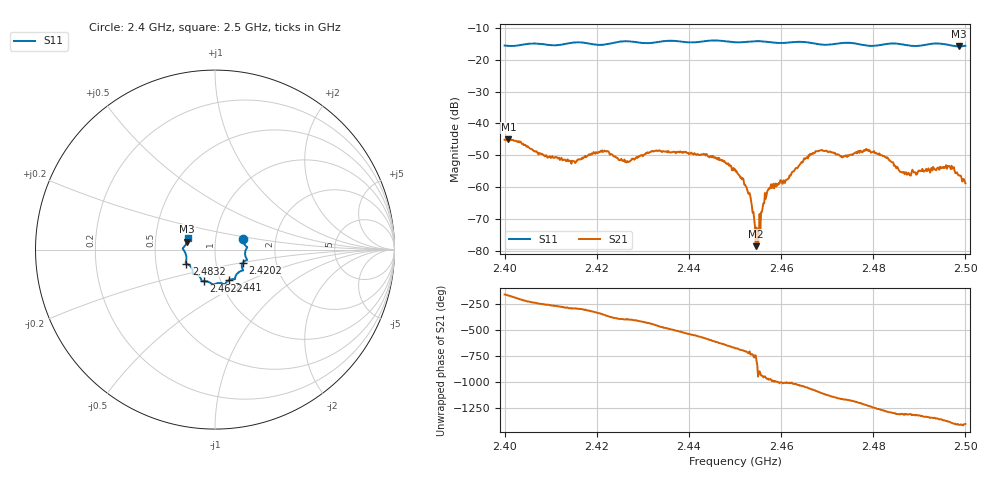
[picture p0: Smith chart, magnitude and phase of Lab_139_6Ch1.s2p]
# Hz S RI R 50
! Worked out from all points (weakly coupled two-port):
!   601 points, 2.4 GHz to 2.5 GHz, reference 50 ohm
!   highest |S21| = -44.94 dB at 2.4008 GHz (marker M1); lowest = -78.5 dB at 2.4545 GHz (marker M2)
!   lowest |S11| = -15.8 dB at 2.4987 GHz (marker M3), VSWR 1.39, Z = 36.4 + j3.36 ohm
!   |S11| at or under -10 dB: start of sweep to end of sweep
!   S12 and S22 are empty: the file has one direction only
!   S11 on the Smith chart (normalised r, x): 2.4 GHz: 1.36, +0.17; 2.4202 GHz: 1.35, -0.20; 2.441 GHz: 1.09, -0.39; 2.4622 GHz: 0.83, -0.30; 2.4832 GHz: 0.72, -0.12; 2.5 GHz: 0.73, +0.10
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2.4e9  0.1563 0.0595  -0.00535 -0.0015  0 0  0 0
2.400833e9  0.1573 0.0495  -0.00562 -0.000702  0 0  0 0
2.416667e9  0.1776 -0.0583  0.00155 0.00226  0 0  0 0
2.420167e9  0.1556 -0.0723  0.00321 0.00117  0 0  0 0
2.426667e9  0.1567 -0.1163  0.002 -0.0016  0 0  0 0
2.433333e9  0.113 -0.1527  -0.000853 -0.00362  0 0  0 0
2.441e9  0.0764 -0.1709  -0.0032 0.000705  0 0  0 0
2.45e9  0.0261 -0.1863  0.00138 0.00132  0 0  0 0
2.453e9  -0.000397 -0.192  0.000777 -6.51e-05  0 0  0 0
2.4545e9  -0.00827 -0.1951  0.000105 -5.34e-05  0 0  0 0
2.455e9  -0.01 -0.1952  -7.97e-05 9.08e-05  0 0  0 0
2.456167e9  -0.0144 -0.1932  -0.000308 0.000466  0 0  0 0
2.457333e9  -0.0205 -0.1889  -0.000181 0.000932  0 0  0 0
2.462167e9  -0.0635 -0.1767  0.000519 0.00147  0 0  0 0
2.466667e9  -0.0765 -0.1665  0.00329 0.000379  0 0  0 0
2.478667e9  -0.1284 -0.106  -0.00309 -0.00216  0 0  0 0
2.483167e9  -0.1599 -0.0779  -0.00255 0.00128  0 0  0 0
2.483333e9  -0.1608 -0.0775  -0.00241 0.0013  0 0  0 0
2.487667e9  -0.1596 -0.0516  -0.00105 0.00131  0 0  0 0
2.496167e9  -0.1706 0.0175  0.00102 0.00189  0 0  0 0
2.498667e9  -0.1556 0.0449  0.00133 0.000763  0 0  0 0
2.5e9  -0.153 0.0635  0.000896 0.000724  0 0  0 0
